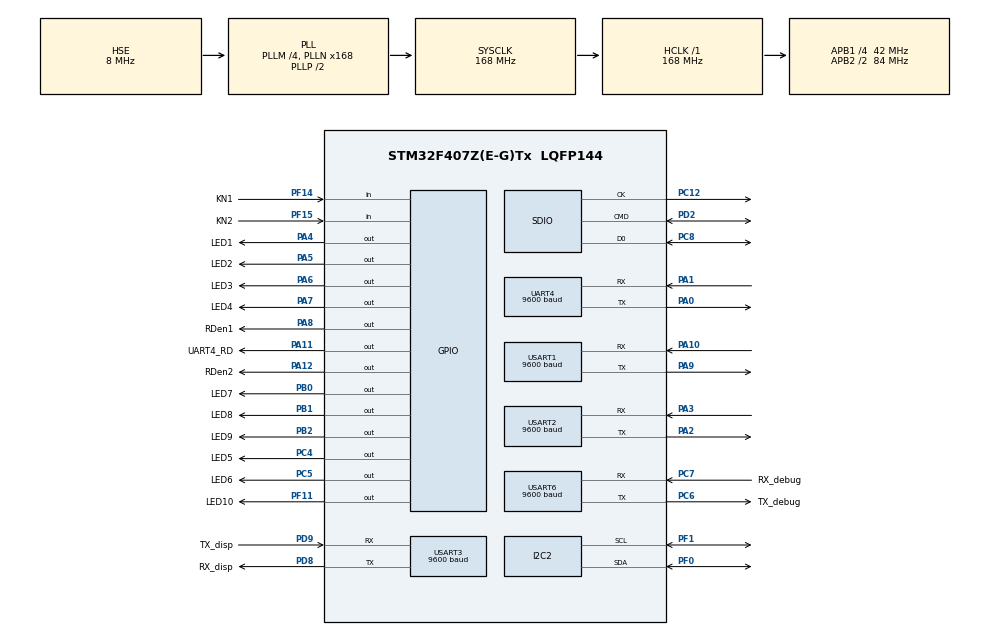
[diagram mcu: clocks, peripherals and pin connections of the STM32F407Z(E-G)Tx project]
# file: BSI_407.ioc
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FATFS._FS_REENTRANT=0
FATFS._MAX_SS=4096
FREERTOS.Mutexes01=myMutex01,Static,myMutex01ControlBlock
FREERTOS.Tasks01=SlaveModbusTask,-1,256,SlaveModbusTaskFunction,Default,NULL,Static,defaultTaskBuffer,defaultTaskControlBlock;MasterModbusTas,0,256,MasterModbusTaskFunction,Default,NULL,Static,MasterModbusTasBuffer,MasterModbusTasControlBlock;HoldingHandler,0,256,HoldingHandlerFunction,Default,NULL,Static,HoldingHandlerBuffer,HoldingHandlerControlBlock;InputHandler,-1,256,InputHandlerFunction,Default,NULL,Static,InputHandlerBuffer,InputHandlerControlBlock;SlaveEventTask,-1,256,SlaveEventFunction,Default,NULL,Static,SlaveEventTaskBuffer,SlaveEventTaskControlBlock;DisplayTask,-1,256,DisplayTaskFunction,Default,NULL,Static,DisplayTaskBuffer,DisplayTaskControlBlock;SendToDispTask,0,256,SendToDispTaskFunction,Default,NULL,Static,SendToDispTaskBuffer,SendToDispTaskControlBlock
Mcu.Family=STM32F4
Mcu.Name=STM32F407Z(E-G)Tx
Mcu.Package=LQFP144
NVIC.PriorityGroup=NVIC_PRIORITYGROUP_4
NVIC.TIM1_UP_TIM10_IRQn=true\:5\:0\:false\:false\:true\:true\:true\:true\:true
NVIC.TIM2_IRQn=true\:15\:0\:false\:false\:true\:false\:true\:true\:true
NVIC.TIM6_DAC_IRQn=true\:5\:0\:false\:false\:true\:true\:true\:true\:true
NVIC.TimeBase=TIM2_IRQn
NVIC.TimeBaseIP=TIM2
NVIC.UART4_IRQn=true\:5\:0\:false\:false\:true\:true\:true\:true\:true
NVIC.USART1_IRQn=true\:5\:0\:false\:false\:true\:true\:true\:true\:true
NVIC.USART2_IRQn=true\:5\:0\:false\:false\:true\:true\:true\:true\:true
NVIC.USART3_IRQn=true\:5\:0\:false\:false\:true\:true\:true\:true\:true
NVIC.USART6_IRQn=true\:5\:0\:false\:false\:true\:true\:true\:true\:true
PA0-WKUP.Mode=Asynchronous
PA0-WKUP.Signal=UART4_TX
PA1.Mode=Asynchronous
PA1.Signal=UART4_RX
PA10.Mode=Asynchronous
PA10.Signal=USART1_RX
PA11.GPIO_Label=UART4_RD
PA11.Signal=GPIO_Output
PA12.GPIO_Label=RDen2
PA12.GPIO_Speed=GPIO_SPEED_FREQ_VERY_HIGH
PA12.Signal=GPIO_Output
PA13.Mode=Serial_Wire
PA13.Signal=SYS_JTMS-SWDIO
PA14.Mode=Serial_Wire
PA14.Signal=SYS_JTCK-SWCLK
PA2.Mode=Asynchronous
PA2.Signal=USART2_TX
PA3.Mode=Asynchronous
PA3.Signal=USART2_RX
PA4.GPIO_Label=LED1
PA4.Signal=GPIO_Output
PA5.GPIO_Label=LED2
PA5.Signal=GPIO_Output
PA6.GPIO_Label=LED3
PA6.Signal=GPIO_Output
PA7.GPIO_Label=LED4
PA7.Signal=GPIO_Output
PA8.GPIO_Label=RDen1
PA8.Signal=GPIO_Output
PA9.Mode=Asynchronous
PA9.Signal=USART1_TX
PB0.GPIO_Label=LED7
PB0.Signal=GPIO_Output
PB1.GPIO_Label=LED8
PB1.Signal=GPIO_Output
PB2.GPIO_Label=LED9
PB2.Signal=GPIO_Output
PC12.Mode=SD_1_bit
PC12.Signal=SDIO_CK
PC14-OSC32_IN.Mode=LSE-External-Oscillator
PC14-OSC32_IN.Signal=RCC_OSC32_IN
PC15-OSC32_OUT.Mode=LSE-External-Oscillator
PC15-OSC32_OUT.Signal=RCC_OSC32_OUT
PC4.GPIO_Label=LED5
PC4.Signal=GPIO_Output
PC5.GPIO_Label=LED6
PC5.Signal=GPIO_Output
PC6.GPIO_Label=TX_debug
PC6.Mode=Asynchronous
PC6.Signal=USART6_TX
PC7.GPIO_Label=RX_debug
PC7.Mode=Asynchronous
PC7.Signal=USART6_RX
PC8.Mode=SD_1_bit
PC8.Signal=SDIO_D0
PD2.Mode=SD_1_bit
PD2.Signal=SDIO_CMD
PD8.GPIO_Label=RX_disp
PD8.Mode=Asynchronous
PD8.Signal=USART3_TX
PD9.GPIO_Label=TX_disp
PD9.Mode=Asynchronous
PD9.Signal=USART3_RX
PF0.Mode=I2C
PF0.Signal=I2C2_SDA
PF1.Mode=I2C
PF1.Signal=I2C2_SCL
PF11.GPIO_Label=LED10
PF11.Signal=GPIO_Output
PF14.GPIO_Label=KN1
PF14.Signal=GPIO_Input
PF15.GPIO_Label=KN2
PF15.Signal=GPIO_Input
PH0-OSC_IN.Mode=HSE-External-Oscillator
PH0-OSC_IN.Signal=RCC_OSC_IN
PH1-OSC_OUT.Mode=HSE-External-Oscillator
PH1-OSC_OUT.Signal=RCC_OSC_OUT
ProjectManager.HeapSize=0x400
ProjectManager.StackSize=0x800
ProjectManager.TargetToolchain=MDK-ARM V5.32
RCC.48MHZClocksFreq_Value=48000000
RCC.AHBFreq_Value=168000000
RCC.APB1CLKDivider=RCC_HCLK_DIV4
RCC.APB1Freq_Value=42000000
RCC.APB1TimFreq_Value=84000000
RCC.APB2CLKDivider=RCC_HCLK_DIV2
RCC.APB2Freq_Value=84000000
RCC.APB2TimFreq_Value=168000000
RCC.CortexFreq_Value=168000000
RCC.HCLKFreq_Value=168000000
RCC.HSE_VALUE=8000000
RCC.HSI_VALUE=16000000
RCC.PLLM=4
RCC.PLLN=168
RCC.PLLQ=7
RCC.PLLSourceVirtual=RCC_PLLSOURCE_HSE
RCC.RCC_RTC_Clock_Source=RCC_RTCCLKSOURCE_LSE
RCC.RCC_RTC_Clock_SourceVirtual=RCC_RTCCLKSOURCE_LSE
RCC.RCC_RTC_Clock_Source_FROM_HSE=RCC_RTCCLKSOURCE_HSE_DIV8
RCC.SYSCLKFreq_VALUE=168000000
RCC.SYSCLKSource=RCC_SYSCLKSOURCE_PLLCLK
RCC.VCOOutputFreq_Value=336000000
SDIO.ClockDiv=4
TIM10.Period=49
TIM10.Prescaler=83
TIM6.Period=49
TIM6.Prescaler=83
UART4.BaudRate=9600
UART4.VirtualMode=Asynchronous
USART1.BaudRate=9600
USART1.VirtualMode=VM_ASYNC
USART2.BaudRate=9600
USART2.OverSampling=UART_OVERSAMPLING_16
USART2.VirtualMode=VM_ASYNC
USART3.BaudRate=9600
USART3.VirtualMode=VM_ASYNC
USART6.BaudRate=9600
USART6.VirtualMode=VM_ASYNC
VP_FATFS_VS_SDIO.Mode=SDIO
VP_FREERTOS_VS_CMSIS_V1.Mode=CMSIS_V1
VP_RTC_VS_RTC_Activate.Mode=RTC_Enabled
VP_SYS_VS_tim2.Mode=TIM2
VP_TIM10_VS_ClockSourceINT.Mode=Enable_Timer
VP_TIM6_VS_ClockSourceINT.Mode=Enable_Timer
board=custom

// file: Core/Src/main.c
/* USER CODE BEGIN Header */
/**
  ******************************************************************************
  * @file           : main.c
  * @brief          : Main program body
  ******************************************************************************
  * @attention
  *
  * Copyright (c) 2025 STMicroelectronics.
  * All rights reserved.
  *
  * This software is licensed under terms that can be found in the LICENSE file
  * in the root directory of this software component.
  * If no LICENSE file comes with this software, it is provided AS-IS.
  *
  ******************************************************************************
  */
/* USER CODE END Header */
#include "main.h"
#include "cmsis_os.h"
#include "fatfs.h"
#include "i2c.h"
#include "rtc.h"
#include "sdio.h"
#include "tim.h"
#include "usart.h"
#include "gpio.h"

/* USER CODE BEGIN Includes */
#include "ModbusSettings.h"
#include "UARTSlaveSettings.h"
#include "mb.h"
#include "mb_m.h"
#include "mbport.h"
#include "user_mb_app.h"
#include "stdbool.h"
#include "bsp.h"
#include "HoldingRegisterSlaveHandler.h"
#include "numberDevices.h"
#include "DisplayDriver.h"
#include "RingBuffer.h"
#include "File_Handling.h"
#include "SensorLogs.h"
#include "stdbool.h"
#include "RelaySystem.h"
#include "at24cm01.h"
/* USER CODE END Includes */

/* USER CODE BEGIN PM */
void MX_DMA_Init(void);
/* USER CODE END PM */

/* USER CODE BEGIN PV */
extern TIM_HandleTypeDef *ModBusSlaveTimer;
extern uint16_t ModBusSlaveTimeout;
extern volatile uint16_t ModBusSlaveCounter;
extern uint8_t ModBusSlaveDefaultDeviceAddr;

extern uint16_t timerPeriod;
extern volatile uint16_t timerCounter;
extern uint8_t  numberOfDevices;
extern bool sd_card_present;
//**********Variables for ring biffer*******************/

RING_buffer_t ring_Rx;   /* RX ring buffer structur */
//RING_buffer_t ring_Tx;   /* TX ring buffer structur */

/* Array for RX and TX ring buffers structur */
uint8_t ring_buffer_RX[CIRC_BUF_RX_SIZE] = {0};
//uint8_t ring_buffer_TX[CIRC_BUF_TX_SIZE] = {0};
uint8_t is_active_rx_uart_buffer = 0;
//uint8_t is_active_tx_vcp_buffer = 0;
volatile uint8_t RxUartByte3 = 0;
/* USER CODE END PV */

void SystemClock_Config(void);
void MX_FREERTOS_Init(void);

/* USER CODE BEGIN 0 */
uint8_t addrI2C;
volatile uint8_t test1, test2;
/* USER CODE END 0 */

int main(void)
{

  /* MCU Configuration--------------------------------------------------------*/

  /* Reset of all peripherals, Initializes the Flash interface and the Systick. */
  HAL_Init();

  /* Configure the system clock */
  SystemClock_Config();

  /* Initialize all configured peripherals */
  MX_GPIO_Init();
  MX_RTC_Init();
  MX_SDIO_SD_Init();
	MX_DMA_Init();
  MX_UART4_Init();
  MX_USART2_UART_Init();
  MX_USART3_UART_Init();
  MX_USART6_UART_Init();
  MX_I2C2_Init();
  MX_TIM6_Init();
  MX_USART1_UART_Init();
  MX_TIM10_Init();
  MX_FATFS_Init();
  /* USER CODE BEGIN 2 */
	/* *************** checking SD card ************** */
	sd_card_present = check_sd_card();
  /* *************start display receiving******************** */
  UART_Display_StartReceiving();
	/* *************MODBUS SLAVE init******************** */

	  if (HAL_UART_Init(&huart1) != HAL_OK)  /* restart  UART1 */
        {
           Error_Handler();
        }

		    HAL_Delay(10);

	setModBusSlaveAddr();
	setModBusSlaveSetting();
  setTimeStepReadingSensores();

	eMBErrorCode   eStatus = eMBInit( MB_RTU, MB_AddresseValue, &huart1, MB_BaudRateValue, &htim6 );
	eMBEnable( );

  /* *************MODBUS MASTER init****************** */

  vMBMasterSetDestAddress(ModBusSlaveDefaultDeviceAddr);

  eStatus = eMBMasterInit(MB_RTU, 0, 9600, MB_PAR_NONE);
  eStatus = eMBMasterEnable();
  if (eStatus != MB_ENOERR)
   {
    // Error handling
   }
 /* ************  Sensors initialisation ********** */

	 /* установка количества слайв устройств */
	 setNumberDevices(&NumberSlaveDevices, NUMBER_SLAVE_DEVICES);
   /* ************* Initializes  RX and TX ring buffers ***** */
	 RING_Init(&ring_Rx, ring_buffer_RX, CIRC_BUF_RX_SIZE );         /*! Init RX buffer for UART3: display */

   // initialization extern eeprom for relay settings
   init_system(MAX_CHANNELS); // 40 каналов
	 Modules_LoadFromEEPROM();

	 // Настройка команды для события
	 set_event_command(EVENT_POROG_1, RELAY_CMD_ON);
	 set_event_command(EVENT_POROG_2, RELAY_CMD_ON);
   set_event_command(EVENT_POROG_3, RELAY_CMD_ON);
	 set_event_command(EVENT_ERROR_485, RELAY_CMD_ON);
   set_event_command(EVENT_POROG_NORMAL, RELAY_CMD_OFF);

  /* USER CODE END 2 */

  /* Call init function for freertos objects (in cmsis_os2.c) */
  MX_FREERTOS_Init();

  /* Start scheduler */
  osKernelStart();

  /* We should never get here as control is now taken by the scheduler */

  /* Infinite loop */
  while (1)
  {

  }
}

void SystemClock_Config(void)
{
  RCC_OscInitTypeDef RCC_OscInitStruct = {0};
  RCC_ClkInitTypeDef RCC_ClkInitStruct = {0};

  /** Configure the main internal regulator output voltage
  */
  __HAL_RCC_PWR_CLK_ENABLE();
  __HAL_PWR_VOLTAGESCALING_CONFIG(PWR_REGULATOR_VOLTAGE_SCALE1);

  /** Initializes the RCC Oscillators according to the specified parameters
  * in the RCC_OscInitTypeDef structure.
  */
  RCC_OscInitStruct.OscillatorType = RCC_OSCILLATORTYPE_HSE|RCC_OSCILLATORTYPE_LSE;
  RCC_OscInitStruct.HSEState = RCC_HSE_ON;
  RCC_OscInitStruct.LSEState = RCC_LSE_ON;
  RCC_OscInitStruct.PLL.PLLState = RCC_PLL_ON;
  RCC_OscInitStruct.PLL.PLLSource = RCC_PLLSOURCE_HSE;
  RCC_OscInitStruct.PLL.PLLM = 4;
  RCC_OscInitStruct.PLL.PLLN = 168;
  RCC_OscInitStruct.PLL.PLLP = RCC_PLLP_DIV2;
  RCC_OscInitStruct.PLL.PLLQ = 7;
  if (HAL_RCC_OscConfig(&RCC_OscInitStruct) != HAL_OK)
  {
    Error_Handler();
  }

  /** Initializes the CPU, AHB and APB buses clocks
  */
  RCC_ClkInitStruct.ClockType = RCC_CLOCKTYPE_HCLK|RCC_CLOCKTYPE_SYSCLK
                              |RCC_CLOCKTYPE_PCLK1|RCC_CLOCKTYPE_PCLK2;
  RCC_ClkInitStruct.SYSCLKSource = RCC_SYSCLKSOURCE_PLLCLK;
  RCC_ClkInitStruct.AHBCLKDivider = RCC_SYSCLK_DIV1;
  RCC_ClkInitStruct.APB1CLKDivider = RCC_HCLK_DIV4;
  RCC_ClkInitStruct.APB2CLKDivider = RCC_HCLK_DIV2;

  if (HAL_RCC_ClockConfig(&RCC_ClkInitStruct, FLASH_LATENCY_5) != HAL_OK)
  {
    Error_Handler();
  }
}

/* USER CODE BEGIN 4 */
void MX_DMA_Init(void)
{
  __HAL_RCC_DMA1_CLK_ENABLE();

  // Настройка прерываний DMA для Stream4
  HAL_NVIC_SetPriority(DMA1_Stream4_IRQn, 5, 0);
  HAL_NVIC_EnableIRQ(DMA1_Stream4_IRQn);
}

/* USER CODE END 4 */

void HAL_TIM_PeriodElapsedCallback(TIM_HandleTypeDef *htim)
{
  if (htim->Instance == TIM2) {
    HAL_IncTick();
  }
  /* USER CODE BEGIN Callback 1 */
  else if(htim->Instance == ModBusSlaveTimer->Instance)
		{
			if((++ModBusSlaveCounter) >= ModBusSlaveTimeout)
				pxMBPortCBTimerExpired();
	}

	else if (htim->Instance == htim10.Instance)
  {
    timerCounter++;

    if (timerCounter == timerPeriod)
    {
			 ( void )pxMBMasterPortCBTimerExpired();
    }
  }

  /* USER CODE END Callback 1 */
}

void Error_Handler(void)
{
  __disable_irq();
  while (1)
  {
  }
}

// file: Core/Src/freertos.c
/* USER CODE BEGIN Header */
/**
  ******************************************************************************
  * File Name          : freertos.c
  * Description        : Code for freertos applications
  ******************************************************************************
  * @attention
  *
  * Copyright (c) 2025 STMicroelectronics.
  * All rights reserved.
  *
  * This software is licensed under terms that can be found in the LICENSE file
  * in the root directory of this software component.
  * If no LICENSE file comes with this software, it is provided AS-IS.
  *
  ******************************************************************************
  */
/* USER CODE END Header */

#include "FreeRTOS.h"
#include "task.h"
#include "main.h"
#include "cmsis_os.h"

/* USER CODE BEGIN Includes */
#include "mb.h"
#include "mb_m.h"
#include "ModBusAddrConverter.h"
#include "bsp.h"
#include "HoldingRegisterSlaveHandler.h"
#include "stdbool.h"
#include "DisplayDriver.h"
#include "stdio.h"
#include "stdlib.h"
#include <string.h>
#include "UARTSlaveSettings.h"
#include "RingBuffer.h"
#include "File_Handling.h"
#include "SensorLogs.h"
#include "RelaySystem.h"
/* USER CODE END Includes */

/* USER CODE BEGIN PTD */
uint8_t SelectaFlag = 0;
volatile  bool requestConcetration1 = false;
volatile  bool requestConcetration2 = false;

extern volatile uint8_t startDisplayFlag;
extern volatile uint8_t packet_ready;
extern UART_HandleTypeDef huart3;
extern RING_buffer_t ring_Rx;   /* RX ring buffer structur */
/* USER CODE END PTD */

/* USER CODE BEGIN PD */
extern USHORT   usMRegInBuf[MB_MASTER_TOTAL_SLAVE_NUM][M_REG_INPUT_NREGS];
extern USHORT   usMRegHoldBuf[MB_MASTER_TOTAL_SLAVE_NUM][M_REG_HOLDING_NREGS];
extern SensorState_t   SensorStateArray[NUMBER_SLAVE_DEVICES];

extern volatile char arrDisplayRX[ARRAY_RX_SIZE];
extern volatile uint8_t displayResponse;
extern volatile uint8_t displayStartedFlag ;
extern  uint8_t packets_received;

uint8_t  numberOfDevices = NUMBER_SLAVE_DEVICES;
uint16_t BaudRateID = 0;
extern SensorInfo_t SensorInfo;
extern  uint8_t channelID;

extern float  updateThresholdWarning;
extern float  updateThresholdAlarm ;
extern float  updateCalibrationValue;

extern  SensorCurrentState_t	writeParams;
extern  SensorCurrentState_t	readParams ;

volatile uint8_t tx_uart4_busy = 0;

 uint16_t registersTX[4] = {0};
 uint32_t binary32 = 0;
 uint8_t ModbusSensoraddr = 0;

eCase SelectRunFlag = CASE_DEVICE_MODEL_CODE;

uint8_t ControlCycleFlag = 0;
uint8_t ControlCycleFlag2 = 0;

extern bool sd_card_present;

volatile uint8_t CmdIsReady = 0;
volatile uint8_t CmdWriteIsReady = 0;
volatile uint8_t PauseTaskCounter = 0;

   /* Глобальная очередь для команд */
QueueHandle_t displayCommandQueue = NULL;

 DisplayCommand_t cmd =
   {
	   .command     = 0x00,
     .deviceAddr  = 0x00,
     .binary32    = 0x00,
	   .channelID   = 0x00,
	   .sensorPOSITION   = 0x00
	 };

  /* Глобальная очередь для логов */

osMessageQId queueSendLogsHandle;
QueueHandle_t SD_CardMsgQueue = NULL;

SensorLogEvent_t sensorLog = {
	 .logType = SENSOR_LOG_TYPE_ERROR,
   .sensorID = 0,
   .deviceAddr = 0,
   .Value = 0
};

  /* Глобальная очередь для отработки реле */
QueueHandle_t eventRelayQueue = NULL;

  /* Глобальная очередь для настроек модулей реле  */
QueueHandle_t eventSettingRelayQueue = NULL;

 union {
     uint32_t i;
     float f;
 } converterFloat;

volatile uint8_t RdyWrittingFlag = 0;
float currentConcentration = 0.00;

volatile uint8_t  flagDisplayLogsBusy = 0;

static uint16_t Modbus_CRC16(uint8_t *buf, uint8_t len);
static void Send_Modbus_Command_DMA(uint8_t slave_addr , uint8_t relay_id, uint8_t cmd);
/* USER CODE END PD */

/* USER CODE BEGIN PM */
#define mutexON  1
#define mutexOFF 0
volatile uint8_t additMutexMbFunctions = mutexOFF;

bool setErrorStatusFlag = false;

DisplayCommand_t displayCmd;
/* USER CODE END PM */

/* USER CODE BEGIN Variables */

void MasterModbus2TaskFunction(void const * argument);
void ReleySettingTaskFunction (void const * argument);
extern uint8_t ModBusSlaveDefaultDeviceAddr;
extern uint8_t ModBusSlaveCurrentDeviceAddr;
/* USER CODE END Variables */
osThreadId SlaveModbusTaskHandle;
uint32_t defaultTaskBuffer[ 256];
osStaticThreadDef_t defaultTaskControlBlock;
osThreadId MasterModbusTasHandle;
uint32_t MasterModbusTasBuffer[ 256 ];
osStaticThreadDef_t MasterModbusTasControlBlock;
osThreadId HoldingHandlerHandle;
uint32_t HoldingHandlerBuffer[ 1024 ];
osStaticThreadDef_t HoldingHandlerControlBlock;
osThreadId InputHandlerHandle;
uint32_t InputHandlerBuffer[ 512 ];
osStaticThreadDef_t InputHandlerControlBlock;
osThreadId SlaveEventTaskHandle;
uint32_t SlaveEventTaskBuffer[ 512];
osStaticThreadDef_t SlaveEventTaskControlBlock;
osThreadId DisplayTaskHandle;
uint32_t DisplayTaskBuffer[ 512];
osStaticThreadDef_t DisplayTaskControlBlock;
osThreadId SendToDispTaskHandle;
uint32_t SendToDispTaskBuffer[ 1600];
osStaticThreadDef_t SendToDispTaskControlBlock;
osMutexId myMutex01Handle;
osStaticMutexDef_t myMutex01ControlBlock;

osThreadId MasterModbus2TasHandle;
uint32_t MasterModbus2TasBuffer[ 128 ];
osStaticThreadDef_t MasterModbus2TasControlBlock;

osThreadId ReleySettingHandle;
uint32_t ReleySettingTaskBuffer[ 1024 ];
osStaticThreadDef_t ReleySettingControlBlock;

/* USER CODE BEGIN FunctionPrototypes */
uint16_t dimensionArray[] = {SENSOR_SCALE_DIMENSTION,SENSOR_SCALE_DIMENSTION_2};
uint16_t scale_maxArray[] = {SENSOR_SCALE_MAX_HIGH, SENSOR_SCALE_MAX_HIGH_2};
uint16_t warningArray[]   = {SENSOR_THRESHOLD_WARNIGN_HIGN, SENSOR_THRESHOLD_WARNIGN_HIGN_2};
uint16_t alarmArray[]     = {SENSOR_THRESHOLD_ALARM_HIGH, SENSOR_THRESHOLD_ALARM_HIGH_2};
uint16_t additionalArray[]  = {SENSOR_THRESHOLD_ADDITIONAL_HIGH,SENSOR_THRESHOLD_ADDITIONAL_HIGH_2};
uint16_t calibrationArray[] = {CALIBRATION_PRIMARY_ZERO_VALUE_HIGH,CALIBRATION_SECONDARY_ZERO_VALUE_HIGH};
uint16_t calibrationArray2[] = {CALIBRATION_PRIMARY_SPAN_VALUE_HIGH,CALIBRATION_SECONDARY_SPAN_VALUE_HIGH};
/* USER CODE END FunctionPrototypes */

void SlaveModbusTaskFunction(void const * argument);
void MasterModbusTaskFunction(void const * argument);
void HoldingHandlerFunction(void const * argument);
void InputHandlerFunction(void const * argument);
void SlaveEventFunction(void const * argument);
void DisplayTaskFunction(void const * argument);
void SendToDispTaskFunction(void const * argument);

void MX_FREERTOS_Init(void); /* (MISRA C 2004 rule 8.1) */

/* GetIdleTaskMemory prototype (linked to static allocation support) */
void vApplicationGetIdleTaskMemory( StaticTask_t **ppxIdleTaskTCBBuffer, StackType_t **ppxIdleTaskStackBuffer, uint32_t *pulIdleTaskStackSize );

/* USER CODE BEGIN GET_IDLE_TASK_MEMORY */
static StaticTask_t xIdleTaskTCBBuffer;
static StackType_t xIdleStack[configMINIMAL_STACK_SIZE];

void vApplicationGetIdleTaskMemory( StaticTask_t **ppxIdleTaskTCBBuffer, StackType_t **ppxIdleTaskStackBuffer, uint32_t *pulIdleTaskStackSize )
{
  *ppxIdleTaskTCBBuffer = &xIdleTaskTCBBuffer;
  *ppxIdleTaskStackBuffer = &xIdleStack[0];
  *pulIdleTaskStackSize = configMINIMAL_STACK_SIZE;
  /* place for user code */
}
/* USER CODE END GET_IDLE_TASK_MEMORY */

void relay_callback(uint8_t module_id,
                    uint8_t relay_id,
                    RelayCommand cmd)
{
	 RS485_RD_HIGH_MASTER2;

	if (relay_id >= 1 && relay_id <= 4)
	 {

    if (cmd == RELAY_CMD_ON)
		  {

				Send_Modbus_Command_DMA(module_id, relay_id, RELAY_CMD_ON);
			}
    else
		  {

				Send_Modbus_Command_DMA(module_id, relay_id, RELAY_CMD_OFF);
			}
		}
}

void MX_FREERTOS_Init(void) {
  /* Create the mutex(es) */
  /* definition and creation of myMutex01 */
  osMutexStaticDef(myMutex01, &myMutex01ControlBlock);
  myMutex01Handle = osMutexCreate(osMutex(myMutex01));

  /* Create the thread(s) */
  /* definition and creation of SlaveModbusTask */
  osThreadStaticDef(SlaveModbusTask, SlaveModbusTaskFunction, osPriorityBelowNormal, 0, 256, defaultTaskBuffer, &defaultTaskControlBlock);
  SlaveModbusTaskHandle = osThreadCreate(osThread(SlaveModbusTask), NULL);

  /* definition and creation of MasterModbusTas */
  osThreadStaticDef(MasterModbusTas, MasterModbusTaskFunction, osPriorityAboveNormal, 0, 256, MasterModbusTasBuffer, &MasterModbusTasControlBlock);
  MasterModbusTasHandle = osThreadCreate(osThread(MasterModbusTas), NULL);

  /* definition and creation of HoldingHandler */
  osThreadStaticDef(HoldingHandler, HoldingHandlerFunction, osPriorityAboveNormal, 0, 1024, HoldingHandlerBuffer, &HoldingHandlerControlBlock);
  HoldingHandlerHandle = osThreadCreate(osThread(HoldingHandler), NULL);

  /* definition and creation of InputHandler */
  osThreadStaticDef(InputHandler, InputHandlerFunction, osPriorityBelowNormal, 0, 256, InputHandlerBuffer, &InputHandlerControlBlock);
  InputHandlerHandle = osThreadCreate(osThread(InputHandler), NULL);

  /* definition and creation of SlaveEventTask */
  osThreadStaticDef(SlaveEventTask, SlaveEventFunction, osPriorityBelowNormal, 0,512 , SlaveEventTaskBuffer, &SlaveEventTaskControlBlock);
  SlaveEventTaskHandle = osThreadCreate(osThread(SlaveEventTask), NULL);

  /* definition and creation of DisplayTask */
  osThreadStaticDef(DisplayTask, DisplayTaskFunction, osPriorityBelowNormal, 0, 512, DisplayTaskBuffer, &DisplayTaskControlBlock);
  DisplayTaskHandle = osThreadCreate(osThread(DisplayTask), NULL);

  /* definition and creation of SendToDispTask */
  osThreadStaticDef(SendToDispTask, SendToDispTaskFunction, osPriorityBelowNormal, 0, 1600 , SendToDispTaskBuffer, &SendToDispTaskControlBlock);
  SendToDispTaskHandle = osThreadCreate(osThread(SendToDispTask), NULL);

  /* USER CODE BEGIN RTOS_THREADS */
  /* add threads, ... */

		  /* definition and creation of MasterModbus2Tas */
  osThreadStaticDef(MasterModbus2Tas, MasterModbus2TaskFunction, osPriorityBelowNormal, 0, 128, MasterModbus2TasBuffer, &MasterModbus2TasControlBlock);
  MasterModbus2TasHandle = osThreadCreate(osThread(MasterModbus2Tas), NULL);

		  /* definition and creation of MasterModbus2Tas */
  osThreadStaticDef(ReleySettingTask, ReleySettingTaskFunction, osPriorityNormal, 0, 1024, ReleySettingTaskBuffer, &ReleySettingControlBlock);
  MasterModbus2TasHandle = osThreadCreate(osThread(ReleySettingTask), NULL);

	displayCommandQueue = xQueueCreate(20, sizeof(DisplayCommand_t));

  /* очередь для работы с логами */
	osMessageQDef(queueSenEvent, 24, SensorLogEvent_t);
  queueSendLogsHandle = osMessageCreate(osMessageQ(queueSenEvent), NULL);

	  /* Глобальная очередь для отработки событий реле */
	eventRelayQueue = xQueueCreate(16, sizeof(EventMessage_t));
	 /* Глобальная очередь для отработки настроек  реле */
	eventSettingRelayQueue = xQueueCreate(4, sizeof(RelaysEvent_t));

	  /* USER CODE END RTOS_THREADS */
}

void SlaveModbusTaskFunction(void const * argument)
{
  /* USER CODE BEGIN SlaveModbusTaskFunction */
  /* Infinite loop */
  for(;;)
  {
		eMBPoll();
    osDelay(3);
  }
  /* USER CODE END SlaveModbusTaskFunction */
}

void MasterModbusTaskFunction(void const * argument)
{
  /* USER CODE BEGIN MasterModbusTaskFunction */
  /* Infinite loop */
  for(;;)
  {
		// Пытаемся захватить мьютекс (ждём 100 мс)
     osStatus status = osMutexWait(myMutex01Handle, 10);
		 if (status == osOK) {
		     eMBMasterPoll();
			  // Освобождаем мьютекс
       osMutexRelease(myMutex01Handle);
		 }
    osDelay(1);
  }
  /* USER CODE END MasterModbusTaskFunction */
}

void HoldingHandlerFunction(void const * argument)
{
  /* USER CODE BEGIN HoldingHandlerFunction */
	static uint8_t HoldingPollsDone = 0;  // Счётчик выполненных опросов Holding-регистров
		 SendNextionCommand("gl_por1=0");
	   osDelay(50);
	   SendNextionCommand("gl_por2=0");
	   osDelay(50);
	   gl_por1 = 0;
     gl_por2 = 0;
     gl_NotConnected = 0;

     osDelay(10000);
	/* Infinite loop */
  for(;;)
  {	// Пытаемся захватить мьютекс (ждём 50 мс)
     osStatus status = osMutexWait(myMutex01Handle, 10);
		 if (status == osOK)
			  {

			   if(HoldingPollsDone  < 3) // опрашиваем первые ТРИ РАЗА все регистры
				 {

			     /* *********************************  Handling HOLDING registers *************************** */
				    if(SelectRunFlag == CASE_DEVICE_MODEL_CODE)
				     { // вычитывается модель прибора
					    eMBMasterReqReadHoldingRegister( ModBusSlaveCurrentDeviceAddr, DEVICE_MODEL_CODE,2, 200 );

							 SelectRunFlag = CASE_SENSOR_SCALE_MAX_HIGH;
				     }
				    else if(SelectRunFlag == CASE_SENSOR_SCALE_MAX_HIGH)
				     { // вычитываются значения дипазона  всей шкалы и единицы измерения
					     eMBMasterReqReadHoldingRegister( ModBusSlaveCurrentDeviceAddr, SENSOR_SCALE_MAX_HIGH,3, 200 );

							 SelectRunFlag = CASE_SENSOR_SCALE_MAX_HIGH_2;
				     }
						else if(SelectRunFlag == CASE_SENSOR_SCALE_MAX_HIGH_2)
				     { // вычитываются значения дипазона  всей шкалы и единицы измерения
					     eMBMasterReqReadHoldingRegister( ModBusSlaveCurrentDeviceAddr, SENSOR_SCALE_MAX_HIGH_2,3, 200 );

							 SelectRunFlag = CASE_SENSOR_THRESHOLD_WARNIGN_HIGN;
				     }

				    else if (SelectRunFlag == CASE_SENSOR_THRESHOLD_WARNIGN_HIGN)
					   { //вычитываются пороги 1, 2 и 3
 					    eMBMasterReqReadHoldingRegister( ModBusSlaveCurrentDeviceAddr, SENSOR_THRESHOLD_WARNIGN_HIGN, 6, 200 );

					    SelectRunFlag = CASE_SENSOR_THRESHOLD_WARNIGN_HIGN_2;
					   }
						else if (SelectRunFlag == CASE_SENSOR_THRESHOLD_WARNIGN_HIGN_2)
					   { //вычитываются пороги 1, 2 и 3
 					    eMBMasterReqReadHoldingRegister( ModBusSlaveCurrentDeviceAddr, SENSOR_THRESHOLD_WARNIGN_HIGN_2, 6, 200 );

					    SelectRunFlag = CASE_SENSOR_SUBSTANCE_CODE_1;
					   }
				    else if (SelectRunFlag == CASE_SENSOR_SUBSTANCE_CODE_1)
					    { //вычитывается тип газа
					     eMBMasterReqReadHoldingRegister( ModBusSlaveCurrentDeviceAddr, SENSOR_SUBSTANCE_CODE_1, 16, 200 );

							 SelectRunFlag = CASE_SENSOR_SUBSTANCE_CODE_1_2;
					    }
            else if (SelectRunFlag == CASE_SENSOR_SUBSTANCE_CODE_1_2)
					    { //вычитывается тип газа
					     eMBMasterReqReadHoldingRegister( ModBusSlaveCurrentDeviceAddr, SENSOR_SUBSTANCE_CODE_1_2, 16, 200 );

							 SelectRunFlag = CASE_SENSOR_PRIMARY_VALUE_HIGH;
					    }

			      /* ********************************* Handling INPUT registers *************************** */
				     else if (SelectRunFlag == CASE_SENSOR_PRIMARY_VALUE_HIGH)
					    {
							 requestConcetration1 = true;
					     eMBMasterReqReadInputRegister( ModBusSlaveCurrentDeviceAddr, SENSOR_PRIMARY_VALUE_HIGH, 3, 200 );

							 SelectRunFlag = CASE_SENSOR_SECONDARY_VALUE_HIGH;

								if( ControlCycleFlag)
								 {
									 SelectRunFlag = CASE_SENSOR_SECONDARY_VALUE_HIGH;
								 }
					    }
						 else if (SelectRunFlag == CASE_SENSOR_SECONDARY_VALUE_HIGH)
					    {
								 requestConcetration2 = true;
								 eMBMasterReqReadInputRegister( ModBusSlaveCurrentDeviceAddr, SENSOR_SECONDARY_VALUE_HIGH, 3, 200 );

								 SelectRunFlag = CASE_READ_CURRENT_STATTE;

								if( ControlCycleFlag)
								 {
									 SelectRunFlag = CASE_READ_CURRENT_STATTE;
								 }
              }
				    /* ********************************* set next slave addr *************************** */
				     else if (SelectRunFlag == CASE_READ_CURRENT_STATTE)
				      {
								if(ControlCycleFlag)
								{
								  readCurrentSensorState(ModBusSlaveCurrentDeviceAddr,usMRegInBuf,usMRegHoldBuf);
								  ControlCycleFlag = 0;
									HoldingPollsDone = 3;
									SelectRunFlag = CASE_READING_CONCENTRATION_1;
									checkParamsValue = false;
								  checkParamsValue	= compareParams((SensorCurrentState_t *)&writeParams,(SensorCurrentState_t *)&readParams);
									setErrorStatusFlag = true;
								}

						 else	if(ControlCycleFlag2)
								{
								  readCurrentSensorState(ModBusSlaveCurrentDeviceAddr,usMRegInBuf,usMRegHoldBuf);
								  ControlCycleFlag2 = 0;
									HoldingPollsDone = 3;
									SelectRunFlag = CASE_READING_CONCENTRATION_1;
									checkParamsValue = false;
								  checkParamsValue	= compareParams((SensorCurrentState_t *)&writeParams,(SensorCurrentState_t *)&readParams);
									setErrorStatusFlag = true;
								}

							else{

					         readCurrentSensorState(ModBusSlaveCurrentDeviceAddr,usMRegInBuf,usMRegHoldBuf);
				           setNextDeviceAddr(&ModBusSlaveCurrentDeviceAddr);	       // set next device addr
                   SelectRunFlag = CASE_DEVICE_MODEL_CODE;

					         if(ModBusSlaveCurrentDeviceAddr == NUMBER_SLAVE_DEVICES)
					          {
							       HoldingPollsDone++; // следующий	 круг из трех, при старте девайса
								     ModBusSlaveCurrentDeviceAddr = 1;

										 updateProgressBar(HoldingPollsDone);

							      }
					         if(HoldingPollsDone == 3) // после трех проходов определяем наличие активных приборов
					          {
									    SendNextionCommand ("page page%d", 0);
						          SelectRunFlag = CASE_READING_CONCENTRATION_1;	               // переход на постояный цикл опроса значений концентрации

									   /* получение информации об активных датчиках их адресах */
									   GetActiveSensors(SensorStateArray, (SensorInfo_t *) &SensorInfo);
											/* ************************************* */
											sensorLog.Value = SensorInfo.count;
											sensorLog.logType = SERVICE;
											sensorLog.sensorID = 0;

											if(sd_card_present)
											{
												if (xQueueSend(queueSendLogsHandle, &sensorLog, portMAX_DELAY) != pdPASS) {
													}
										  }
											/* ************************************* */

									   /* получение modbus адреса  первого активного датчика на линии */
								     ModBusSlaveCurrentDeviceAddr = SensorInfo.modbusDevices[0].modbusAddr;
                    /* вывести окна активных дачтичиков  и перейти на постоянный опрос */
								   }
				        }
						 }
			     }

           else if (SelectRunFlag == CASE_WAITNG_CALBRATION_STATE)
					   {
							  static uint8_t waitingTimeCounter = 0;

							  osMutexRelease(myMutex01Handle);
                osDelay(100);
                osMutexWait(myMutex01Handle, 10);

							  waitingTimeCounter++;

							  if(waitingTimeCounter > 60) // прмиерно 8 секунда время ожидания проответа регистра состояния
								{
									 waitingTimeCounter = 0;
								}
							  if(waitingTimeCounter == 0)
							  {
							   SelectRunFlag = CASE_READING_CALBRATION_STATE;
								}
					   }
				  	else if (SelectRunFlag == CASE_READING_CALBRATION_STATE)
					   {
 					      eMBMasterReqReadHoldingRegister( ModBusSlaveCurrentDeviceAddr, CALIBRATION_PROCESS_STATUS, 1, 300 );

							  SelectRunFlag = CASE_GET_CALBRATION_STATE;
					   }

					 else if (SelectRunFlag == CASE_GET_CALBRATION_STATE)
					   {
							   checkParamsValue = false;
							   readCurrentCalibrationState (ModBusSlaveCurrentDeviceAddr,usMRegHoldBuf);
							   checkParamsValue = getCalibrationProcessState (ModBusSlaveCurrentDeviceAddr);
							   checkParamsValue = !checkParamsValue;
							   setErrorStatusFlag = true;
					       SelectRunFlag = CASE_READING_CONCENTRATION_1;
					   }

			      /* постоянный цикл опроса активных приборов */

			        /* ********************************* Handling INPUT registers *************************** */
				  else if (SelectRunFlag == CASE_READING_CONCENTRATION_1)
				  	    {
								 /*  отправка  запроса на считывания значение текущей концентрации */
								  /* !!!!! на период настройки параметров с дисплея  отключается запрос концентрации !!!!! */

                   SelectRunFlag = CASE_READING_CONCENTRATION_2;

									if(!CmdIsReady && !flagDisplayLogsBusy){
										 requestConcetration1 = true;
					           eMBMasterReqReadInputRegister( ModBusSlaveCurrentDeviceAddr, SENSOR_PRIMARY_VALUE_HIGH, 3, 200 );
									 }
									else {
									   SelectRunFlag = CASE_WRITING_SETTING;
									}

					      }

					else if(SelectRunFlag == CASE_READING_CONCENTRATION_2)
					      {
								 /*  отправка  запроса на считывания значение текущей концентрации */
								  /* !!!!! на период настройки параметров с дисплея  отключается запрос концентрации !!!!! */

                   SelectRunFlag = CASE_SET_NEXT_ADDR;

									if(!CmdIsReady && !flagDisplayLogsBusy){
										 requestConcetration2 = true;
					           eMBMasterReqReadInputRegister( ModBusSlaveCurrentDeviceAddr, SENSOR_SECONDARY_VALUE_HIGH, 3, 200 );
									 }
									else {
									   SelectRunFlag = CASE_WRITING_SETTING;
									}

								}

				      /* ********************************* set next slave addr *************************** */
				   else if (SelectRunFlag == CASE_SET_NEXT_ADDR)
				        {

									 SelectRunFlag = CASE_WRITING_SETTING;

									 if(!CmdIsReady && !flagDisplayLogsBusy){
						    	   /* значение концентрации текущее */
					            readCurrentSensorValue(ModBusSlaveCurrentDeviceAddr,usMRegInBuf);

					           /* выбираем только адреса активных приборов */
				            setNextActiveDeviceAddr_(&ModBusSlaveCurrentDeviceAddr,SensorInfo.count);	       // set next active sdevice addr

									   // Отправляем только если значение ИЗМЕНИЛОСЬ

	   			       }
						 }
		else if (SelectRunFlag == CASE_WRITING_SETTING)
		{
      uint8_t shouldChangeFlag = 1;	 // для обычного цикла, когда команды не прилетают

			/* *************** ОБРАБОТКА КОМАНД ОТ ДИСПЛЕЯ *************** */
    // Проверяем, есть ли команды от дисплея в очереди
	 if(CmdIsReady)
	 {
     //uint8_t sensorPosition = displayCmd.sensorPOSITION; // FIRST or SECONDARY

    if(xQueueReceive(displayCommandQueue, &displayCmd, 0) == pdTRUE)
    {
			    if(displayCmd.command ==DISPLAY_SCALE_DIMENSION){

						 registersTX[0] = displayCmd.binary32 & 0xFFFF;
              //registersTX[1] = displayCmd.binary32 & 0xFFFF;

					   osMutexRelease(myMutex01Handle);
             osDelay(TIME_DELAY_BEFORE_AFTER_CMD);
             osMutexWait(myMutex01Handle, 10);

						 eMBMasterReqWriteMultipleHoldingRegister(  displayCmd.deviceAddr,
						                                            dimensionArray[displayCmd.sensorPOSITION],
						                                             1,
						                                             (USHORT *)&registersTX[0],
						                                             300);

						osMutexRelease(myMutex01Handle);
            osDelay(TIME_DELAY_PACKET);
            osMutexWait(myMutex01Handle, 10);

						shouldChangeFlag = 0;
				    SelectRunFlag = CASE_WRITING_SETTING;
					 }

				/* ******************  DISPLAY_SCALE_MAX *************************** */
			 else		if(displayCmd.command ==DISPLAY_SCALE_MAX){

				   registersTX[0] = (displayCmd.binary32 >> 16) & 0xFFFF;
           registersTX[1] = displayCmd.binary32 & 0xFFFF;

           osMutexRelease(myMutex01Handle);
           osDelay(TIME_DELAY_PACKET);
           osMutexWait(myMutex01Handle, 10);

           eMBMasterReqWriteMultipleHoldingRegister(displayCmd.deviceAddr,
				                                            scale_maxArray[displayCmd.sensorPOSITION],
				                                            2,
				                                            (USHORT *)&registersTX[0],
				                                            300);

           osMutexRelease(myMutex01Handle);
           osDelay(TIME_DELAY_PACKET);
           osMutexWait(myMutex01Handle, 10);

				   shouldChangeFlag = 0;
				   SelectRunFlag = CASE_WRITING_SETTING;
		    }
				/* ******************  DISPLAY_CALIBRATION_PRIMARY_ZERO ********************** */
				else	if(displayCmd.command == DISPLAY_CALIBRATION_PRIMARY_ZERO){
					 /* ******************************************************************* */

					sensorLog.sensorID = displayCmd.channelID;
					converterFloat.i = displayCmd.binary32;
					sensorLog.Value = converterFloat.f ;
					sensorLog.logType = CALIBRATION_0;

						if(sd_card_present)		{
								if (xQueueSend(queueSendLogsHandle, &sensorLog, portMAX_DELAY) != pdPASS) {
															}
						}
					 /* ******************************************************************* */
					registersTX[0] = (displayCmd.binary32 >> 16) & 0xFFFF;
          registersTX[1] = displayCmd.binary32 & 0xFFFF;

					osMutexRelease(myMutex01Handle);
          osDelay(TIME_DELAY_BEFORE_AFTER_CMD);
          osMutexWait(myMutex01Handle, 10);

          eMBMasterReqWriteMultipleHoldingRegister(displayCmd.deviceAddr,
					                                             calibrationArray[displayCmd.sensorPOSITION],
					                                             2,
					                                             (USHORT *)&registersTX[0],
					                                             300);

          osMutexRelease(myMutex01Handle);
          osDelay(TIME_DELAY_BEFORE_AFTER_CMD);
          osMutexWait(myMutex01Handle, 10);

			    shouldChangeFlag = 0;

			      CmdWriteIsReady = 1;

					 /* пройти один цикл опроса состояния калибровки  */
				    SelectRunFlag = CASE_WAITNG_CALBRATION_STATE;
						ModBusSlaveCurrentDeviceAddr = displayCmd.deviceAddr;
	     }
        /* ******************  DISPLAY_CALIBRATION_POINT_1 *************************** */
	  else   if(displayCmd.command == DISPLAY_CALIBRATION_POINT_1){

			    /* ******************************************************************* */
			     sensorLog.sensorID = displayCmd.channelID;
			     converterFloat.i = displayCmd.binary32;
					 sensorLog.Value = converterFloat.f;
					 sensorLog.logType = CALIBRATION_1;

						if(sd_card_present)		{
							 if (xQueueSend(queueSendLogsHandle, &sensorLog, portMAX_DELAY) != pdPASS) {
														}
						}
			      /* ******************************************************************* */

			      registersTX[0] = (displayCmd.binary32 >> 16) & 0xFFFF;
            registersTX[1] = displayCmd.binary32 & 0xFFFF;

			      osMutexRelease(myMutex01Handle);
            osDelay(TIME_DELAY_BEFORE_AFTER_CMD);
            osMutexWait(myMutex01Handle, 10);

            eMBMasterReqWriteMultipleHoldingRegister(displayCmd.deviceAddr,
			                                               calibrationArray2[displayCmd.sensorPOSITION],
			                                               2,
			                                               (USHORT *)&registersTX[0],
			                                               300);
            osMutexRelease(myMutex01Handle);
            osDelay(TIME_DELAY_BEFORE_AFTER_CMD);
            osMutexWait(myMutex01Handle, 10);

			      shouldChangeFlag = 0;
			      CmdWriteIsReady = 1;

						/* пройти один цикл опроса состояния калибровки  */
				    SelectRunFlag = CASE_WAITNG_CALBRATION_STATE;
						ModBusSlaveCurrentDeviceAddr = displayCmd.deviceAddr;
		    }
         /* ******************  DISPLAY_THRESHOLD_WARNING************************ */
			 else	 if(displayCmd.command == DISPLAY_THRESHOLD_WARNING){

				    /* ******************************************************************* */
				    sensorLog.sensorID = displayCmd.channelID;
				    converterFloat.i = displayCmd.binary32;
					  sensorLog.Value = converterFloat.f ;
					  sensorLog.logType = THRESHOLD_WARNING;

				    if(sd_card_present)		{
								if (xQueueSend(queueSendLogsHandle, &sensorLog, portMAX_DELAY) != pdPASS) {
														}
						}
				    /* ******************************************************************* */

             registersTX[0] = (displayCmd.binary32 >> 16) & 0xFFFF;
             registersTX[1] = displayCmd.binary32 & 0xFFFF;

				     osMutexRelease(myMutex01Handle);
             osDelay(TIME_DELAY_PACKET);
             osMutexWait(myMutex01Handle, 10);

             eMBMasterReqWriteMultipleHoldingRegister(displayCmd.deviceAddr,
				                                              warningArray[displayCmd.sensorPOSITION],
				                                              2,
				                                              (USHORT *)&registersTX[0],
				                                              300);
				     osMutexRelease(myMutex01Handle);
             osDelay(TIME_DELAY_PACKET);
             osMutexWait(myMutex01Handle, 10);

             shouldChangeFlag = 0;
				     SelectRunFlag = CASE_WRITING_SETTING;
	      }
          /* ******************  DISPLAY_THRESHOLD_ALARM ************************ */
       else if(displayCmd.command == DISPLAY_THRESHOLD_ALARM){

				    osMutexRelease(myMutex01Handle);
            osDelay(TIME_DELAY_PACKET);
            osMutexWait(myMutex01Handle, 10);

				    /* ******************************************************************* */
				    sensorLog.sensorID = displayCmd.channelID;
				    converterFloat.i = displayCmd.binary32;
					  sensorLog.Value = converterFloat.f;
					  sensorLog.logType = THRESHOLD_ALARM;

				    if(sd_card_present)		{
							if (xQueueSend(queueSendLogsHandle, &sensorLog, portMAX_DELAY) != pdPASS) {
													}

						}
				     /* ******************************************************************* */
            registersTX[0] = (displayCmd.binary32 >> 16) & 0xFFFF;
            registersTX[1] = displayCmd.binary32 & 0xFFFF;

            eMBMasterReqWriteMultipleHoldingRegister(displayCmd.deviceAddr,
				                                             alarmArray[displayCmd.sensorPOSITION],
				                                             2,
				                                             (USHORT *)&registersTX[0],
			                                               300);
            osMutexRelease(myMutex01Handle);
            osDelay(TIME_DELAY_PACKET);
            osMutexWait(myMutex01Handle, 10);

				    shouldChangeFlag = 0;
				    SelectRunFlag = CASE_WRITING_SETTING;
        }
				/* ******************  DISPLAY_THRESHOLD_ADDITIONAL ************************ */
			 else	if(displayCmd.command == DISPLAY_THRESHOLD_ADDITIONAL){

				    /* ******************************************************************* */
				    sensorLog.sensorID = displayCmd.channelID;
				    converterFloat.i = displayCmd.binary32;
					  sensorLog.Value = converterFloat.f;
					  sensorLog.logType = THRESHOLD_ADDITIONAL;

				    if(sd_card_present)		{
								if (xQueueSend(queueSendLogsHandle, &sensorLog, portMAX_DELAY) != pdPASS) {
														}
						}
				     /* ******************************************************************* */
				    registersTX[0] = (displayCmd.binary32 >> 16) & 0xFFFF;
            registersTX[1] = displayCmd.binary32 & 0xFFFF;

				    osMutexRelease(myMutex01Handle);
            osDelay(TIME_DELAY_PACKET);
            osMutexWait(myMutex01Handle, 10);

            eMBMasterReqWriteMultipleHoldingRegister(displayCmd.deviceAddr,
				                                             additionalArray[displayCmd.sensorPOSITION],
				                                             2,
				                                             (USHORT *)&registersTX[0],
				                                             300);
				    osMutexRelease(myMutex01Handle);
            osDelay(TIME_DELAY_BEFORE_AFTER_CMD);
            osMutexWait(myMutex01Handle, 10);

				    shouldChangeFlag = 0;
				    CmdWriteIsReady = 1;
				   /* Для вычичитки записанных данных  пройти один цикл опроса */
				    SelectRunFlag = CASE_DEVICE_MODEL_CODE;

						if(displayCmd.sensorPOSITION == FIRST_SENSOR)
						{
							ControlCycleFlag = 1;
							ControlCycleFlag2 = 0;
						}
						else
						{
							ControlCycleFlag = 0;
							ControlCycleFlag2 = 1;
						}

						HoldingPollsDone = 0;

						ModBusSlaveCurrentDeviceAddr = displayCmd.deviceAddr;
				 	 /* ******************************************************** */

        }
      }
		}
	   if(shouldChangeFlag)
		   {
		    SelectRunFlag = CASE_READING_CONCENTRATION_1;
	    }
	 }
			//Освобождаем мьютекс
       osMutexRelease(myMutex01Handle);
		 }

	 /* ************* osDelay()****************** */

		  if(CmdIsReady)
			{
			 if(CmdWriteIsReady)
				 {
					CmdIsReady = 0;
					CmdWriteIsReady = 0;
					osDelay(1);
				 }
			}
		  else if(HoldingPollsDone == 3)
		   {
	  			osDelay(TIME_STEP_DEFAULT_150_MS); 	    // 150 ms
		   }
		  else
		   {
		   osDelay(TIME_DEFAULT_1);            // для первых трех опросов всех датчкиков
		   }
		/* *************************************** */

  }
  /* USER CODE END HoldingHandlerFunction */
}

/* USER CODE BEGIN Header_InputHandlerFunction */
/**
* @brief Function implementing the InputHandler thread.
* @param argument: Not used3
* @retval None
*/
/* USER CODE END Header_InputHandlerFunction */
void InputHandlerFunction(void const * argument)
{
  /* USER CODE BEGIN InputHandlerFunction */

	volatile uint16_t timeCounter = 0;
  /* Infinite loop */
  for(;;)
  {
	 	if(SensorInfo.count && !flagDisplayLogsBusy)
			{

				if(setErrorStatusFlag) // отправить на дисплей успешность записи паhаметров и калибровки
				{
			    setErrorStatusFlag = false;
					setErrorStatus(checkParamsValue);
				}
				else
				{
				   // обновление конценатрации, если датчики есть
		         UpdateNextionDisplayWithChannelData(SensorInfo.count);
				}
		  }

     timeCounter++;
     if(timeCounter >= 120 )  // это примерно раз в одну минуту
		 {
			 timeCounter = 0;
   		 UpdateDisplayTime();
		 }
    osDelay(20);
  }
  /* USER CODE END InputHandlerFunction */
}

void SlaveEventFunction(void const * argument)
{
  /* USER CODE BEGIN SlaveEventFunction */
  /* Infinite loop */
  for(;;)
  {
    ModBusSlaveEventHoldingRegHandler();
    osDelay(4);
  }
  /* USER CODE END SlaveEventFunction */
}

void DisplayTaskFunction(void const * argument)
{
  /* USER CODE BEGIN DisplayTaskFunction */
	uint8_t InputByte = 0x00;
  /* Infinite loop */
  for(;;)
  {
		if(Uart_Get_Byte(&ring_Rx, (uint8_t *)&InputByte) == RX_BUF_DONE)
		{
		  GetDisplayCmd(InputByte);
		}

		if(packet_ready)
		{
	   HandleDisplayCommands((uint8_t *)&displayResponse, (uint8_t *)&arrDisplayRX[0], (uint8_t *)&packet_ready);
    }
    osDelay(20);  // 500 ms
  }
  /* USER CODE END DisplayTaskFunction */
}

void SendToDispTaskFunction(void const * argument)
{
  /* USER CODE BEGIN SendToDispTaskFunction */

	  int first_line = 0;
		int last_line = 0;
	  char log_string[64];
	  uint8_t line_count = 0;
  	SensorLogEvent_t LogMsg = {
	   .logType = SENSOR_LOG_TYPE_ERROR,
     .sensorID = 0,
     .deviceAddr = 0,
     .Value = 0
 };

	osDelay(10000);  // 500 ms

 /* Отравить в дисплей текущую дату */

  /* Infinite loop */
  for(;;)
  {
 	      if(!RdyWrittingFlag && sd_card_present)
				{
					 /* постоянно ждем новое сообщение */
				  if(xQueueReceive(queueSendLogsHandle,&LogMsg,osWaitForever) == pdTRUE){

					 RdyWrittingFlag = 1;

				    switch ((uint8_t)LogMsg.logType)
						{
							case SERVICE:
								ServiceDataCallback(LogMsg.sensorID, LogMsg.Value,SERVICE);
								break;
							case CALIBRATION_0:
									ServiceDataCallback(LogMsg.sensorID,LogMsg.Value, CALIBRATION_0);
								break;
							case CALIBRATION_1:
									ServiceDataCallback(LogMsg.sensorID,LogMsg.Value,CALIBRATION_1);
								break;
							case ERROR_485:
							  	HAL_GPIO_WritePin(RY_GPIO_Port, RY3_Pin, GPIO_PIN_SET);
									ServiceDataCallback(LogMsg.sensorID,LogMsg.Value,ERROR_485);
								break;
							case THRESHOLD_WARNING:

									ServiceDataCallback(LogMsg.sensorID,LogMsg.Value,THRESHOLD_WARNING);
									break;
	            case THRESHOLD_ALARM:
									ServiceDataCallback(LogMsg.sensorID,LogMsg.Value, THRESHOLD_ALARM);
									break;
	            case THRESHOLD_ADDITIONAL:
									ServiceDataCallback(LogMsg.sensorID,LogMsg.Value, THRESHOLD_ADDITIONAL);
									break;
							case OVER_THRESHOLD_WARNING:
									ServiceDataCallback(LogMsg.sensorID,LogMsg.Value, OVER_THRESHOLD_WARNING);
									break;
	            case OVER_THRESHOLD_ALARM:
							    ServiceDataCallback(LogMsg.sensorID,LogMsg.Value, OVER_THRESHOLD_ALARM);
									break;
	            case OVER_THRESHOLD_ADDITIONAL:

									ServiceDataCallback(LogMsg.sensorID,LogMsg.Value, OVER_THRESHOLD_ADDITIONAL);
									break;
							 case NORMAL_LEVEL:
									ServiceDataCallback(LogMsg.sensorID,LogMsg.Value, NORMAL_LEVEL);
									break;

							case REQUEST_LOGS:
								   osDelay(200);
									 if(LogMsg.Value == 0x00)
									 {
											 line_count = GetServiceLinesCount();
											 flagDisplayLogsBusy = 1;
											 osDelay(900);
										    if (line_count <= 10 )
											  	  {
												  	 first_line = line_count;
											 			 last_line = 1;
											  		}
									      else
												  {
														first_line = line_count;
														last_line = line_count - 10;
													}
												for(int i = first_line; i >= last_line; i--) // читаем первую 10 строку
												 {
													 osDelay(5);
													 FRESULT res = ReadServiceLine((char *)log_string, 64, i);
													 osDelay(5);
														if (res == FR_OK)
														 { /*first_line
															    вывод в обратном порядке:
															      10 строка --> будет 1
															      1 строка --> будет 10
															 */
															 int display_line = first_line - i + 1;
															 SendNextionCommand("t%d.txt=\"%s\"", display_line,(const char* )log_string);
														 }
												 }
								     }

										else if (LogMsg.Value > 0x09) // 10, 20 ,30 ....
											{
												 line_count = GetServiceLinesCount();
												 flagDisplayLogsBusy = 1;
												 osDelay(900);

												 // Проверяем, что запрошенное количество строк ИМЕННО равно 10, 20, 30 и т.д.
                          // и что общее количество строк >= запрошенному количеству
                         if((LogMsg.Value % 10 == 0) && (line_count >= LogMsg.Value))
                          {
                             first_line = line_count - LogMsg.Value;

														  if (first_line < 0 )
															 {
															   first_line = 11;
															 }
															   /*Определяем целевую границу для уменьшения
                                    Например: для значения 20 целевая граница = 10
                                   для значения 30 целевая граница = 20
															 */
                              int target_line = first_line - 10;
														  if (target_line < 0)
															 {
															   target_line = 1;
															 }
														  // Проверяем, что текущее количество строк превышает целевую границу
                               if(line_count > target_line)
                                  {
																		  //int display_line = 1; // начинаем с позиции 1
																		     for(int i = first_line; i >= target_line; i--)
                                              {
																						   osDelay(2);
													                     FRESULT res = ReadServiceLine((char *)log_string, sizeof(log_string), i);
													                     osDelay(2);
														                   if (res == FR_OK)
														                     {
																									 int display_line = first_line - i + 1;
															                      SendNextionCommand("t%d.txt=\"%s\"", display_line,(const char* )log_string);
														                     }

                                              }
                                   }
													  }
		                        else
														{

														}

											}
										osDelay(250);
										flagDisplayLogsBusy = 0;
									  RdyWrittingFlag = 0;
							   break;
						 }
	        }

				}
		 osDelay(50);
  }
  /* USER CODE END SendToDispTaskFunction */
}

/* USER CODE BEGIN Application */

void Send_Modbus_Command_DMA(uint8_t slave_addr , uint8_t relay_id, uint8_t cmd)

 {
    static uint8_t tx[8];     // ДОЛЖЕН быть static, чтобы буфер не исчез до завершения DMA!
    uint16_t crc;

    // --- Формируем Modbus RTU пакет ---
    tx[0] = slave_addr;   // Адрес устройства
    tx[1] = 0x06;         // Write Single Register
    tx[2] = 0x00;         // Адрес регистра Hi
    tx[3] = 0x0A;         // Адрес регистра Lo
    tx[4] = relay_id;     // ID реле
    tx[5] = cmd;          // команда ON/OFF

    crc = Modbus_CRC16(tx, 6); // CRC по первым 6 байтам
    tx[6] = crc & 0xFF;        // CRC Lo
    tx[7] = (crc >> 8) & 0xFF; // CRC Hi

	  while(tx_uart4_busy == 1)
		{
		  osDelay(1);
		}

	  tx_uart4_busy = 1;

    // --- Отправка по DMA ---
    HAL_UART_Transmit_DMA(&huart4, tx, 8);
 }
uint16_t Modbus_CRC16(uint8_t *buf, uint8_t len)
{
    uint16_t crc = 0xFFFF;

    for (uint8_t pos = 0; pos < len; pos++)
    {
        crc ^= buf[pos];

        for (uint8_t i = 0; i < 8; i++)
        {
            if (crc & 1)
            {
                crc >>= 1;
                crc ^= 0xA001;
            }
            else
            {
                crc >>= 1;
            }
        }
    }
    return crc;
}

void ReleySettingTaskFunction(void const * argument)
 {
	 RelaysEvent_t msg;
     /* Infinite loop */
  for(;;)
  {
     if(xQueueReceive(eventSettingRelayQueue,&msg,osWaitForever) == pdTRUE){

			 /* применить новую настройку  для модулей реле */
			 apply_relay_event_block_bits((RelaysEvent_t *)&msg);

			 /* сохранить на флэш новую настройку */
		   Modules_SaveToEEPROM();
		 }
   osDelay(5);
	}
 }

void MasterModbus2TaskFunction(void const * argument)
{
  /* USER CODE BEGIN MasterModbusTaskFunction */
  /* Infinite loop */

	EventMessage_t msg;

	for(;;)
  {

		if(xQueueReceive(eventRelayQueue,&msg,osWaitForever) == pdTRUE){

			// Приходит событие (event=1, channel=17)
			if(msg.event_id == EVENT_POROG_1){
        process_event((EventType)msg.event_id, msg.channel_id,relay_callback);
	    }
		  else	if(msg.event_id == EVENT_POROG_2){
        process_event((EventType)msg.event_id, msg.channel_id,relay_callback);
			}
			else	if(msg.event_id == EVENT_POROG_3){
        process_event((EventType)msg.event_id, msg.channel_id,relay_callback);
			}
			else	if(msg.event_id == EVENT_POROG_NORMAL){
       process_event((EventType)msg.event_id, msg.channel_id,relay_callback);
			}

	   }

		 osDelay(50);
   }

  /* USER CODE END MasterModbusTaskFunction */
}

/* USER CODE END Application */
